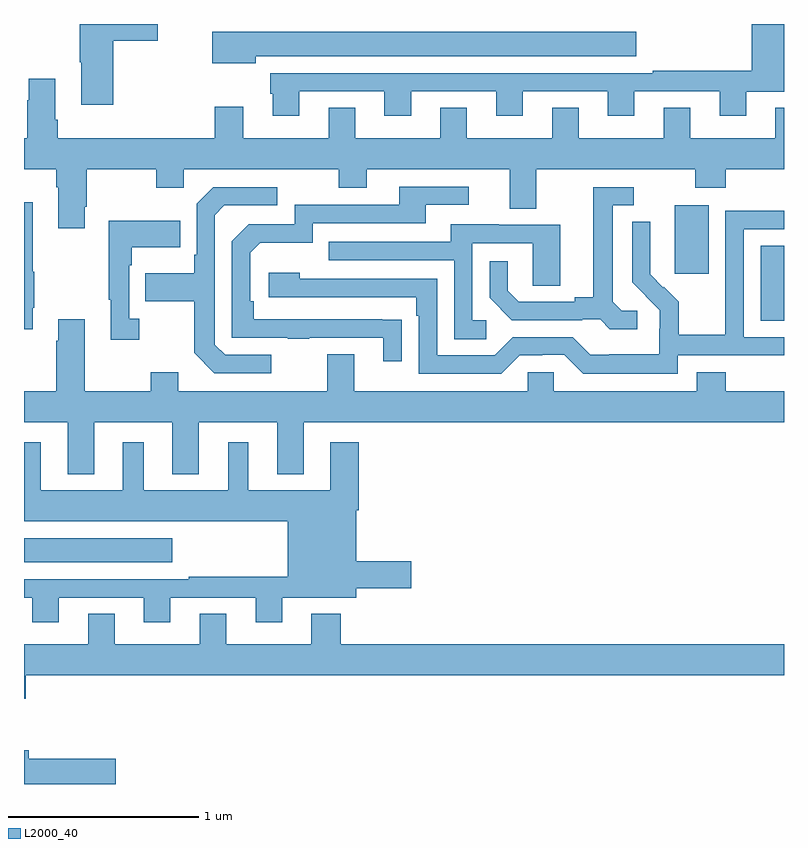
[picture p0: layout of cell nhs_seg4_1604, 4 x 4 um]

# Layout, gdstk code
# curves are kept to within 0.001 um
import gdstk
lib = gdstk.Library(unit=1e-6, precision=1e-09)
def R(c, l, rs):  # rectangles x0, y0, x1, y1
    for r in rs: c.add(gdstk.rectangle(r[:2], r[2:], *l))
def P(c, l, *ps):  # polygons
    for p in ps: c.add(gdstk.Polygon(p, *l))
L2000_40 = (2000, 40)

nhs_seg4_1604 = lib.new_cell('nhs_seg4_1604')
R(nhs_seg4_1604, L2000_40, [(193,812.066,193.78,812.194), (196.877,813.337,197,813.734), (196.424,813.585,196.603,813.946)])
P(nhs_seg4_1604, L2000_40, [(193.469,814.811),(193.705,814.811),(193.705,814.9),(193.294,814.9),(193.294,814.699),(193.301,814.699),(193.301,814.476),(193.469,814.476)],
  [(194.449,814.545),(194.897,814.545),(194.897,814.416),(195.037,814.416),(195.037,814.545),(195.485,814.545),(195.485,814.416),(195.625,814.416),(195.625,814.545),(196.073,814.545),(196.073,814.416),(196.213,814.416),(196.213,814.545),(196.661,814.545),(196.661,814.416),(196.801,814.416),(196.801,814.544),(197,814.544),(197,814.9),(196.829,814.9),(196.829,814.654),(196.309,814.654),(196.309,814.641),(194.297,814.641),(194.297,814.533),(194.309,814.533),(194.309,814.416),(194.449,814.416)],
  [(194.221,814.73),(196.222,814.73),(196.222,814.858),(193.992,814.858),(193.992,814.694),(194.221,814.694)],
  [(193.321,813.937),(193.329,813.937),(193.329,814.136),(193.696,814.136),(193.696,814.037),(193.842,814.037),(193.842,814.136),(194.656,814.136),(194.656,814.037),(194.803,814.037),(194.803,814.136),(195.557,814.136),(195.557,813.928),(195.697,813.928),(195.697,814.136),(196.534,814.136),(196.534,814.037),(196.694,814.037),(196.694,814.136),(197,814.136),(197,814.459),(196.955,814.459),(196.955,814.3),(196.507,814.3),(196.507,814.46),(196.367,814.46),(196.367,814.3),(195.919,814.3),(195.919,814.46),(195.779,814.46),(195.779,814.3),(195.331,814.3),(195.331,814.46),(195.191,814.46),(195.191,814.3),(194.743,814.3),(194.743,814.46),(194.603,814.46),(194.603,814.3),(194.155,814.3),(194.155,814.465),(194.003,814.465),(194.003,814.3),(193.178,814.3),(193.178,814.396),(193.165,814.396),(193.165,814.612),(193.025,814.612),(193.025,814.499),(193.018,814.499),(193.018,814.3),(193,814.3),(193,814.136),(193.169,814.136),(193.169,814.04),(193.181,814.04),(193.181,813.825),(193.321,813.825)],
  [(194.987,813.344),(194.21,813.345),(194.21,813.442),(194.19,813.442),(194.19,813.696),(194.243,813.749),(194.52,813.749),(194.52,813.852),(195.115,813.852),(195.115,813.948),(195.34,813.948),(195.34,814.044),(194.975,814.044),(194.975,813.948),(194.424,813.948),(194.424,813.846),(194.184,813.846),(194.094,813.756),(194.094,813.249),(194.389,813.249),(194.389,813.244),(194.501,813.244),(194.501,813.249),(194.891,813.249),(194.891,813.126),(194.987,813.126)],
  [(196.228,813.39),(196.146,813.39),(196.099,813.437),(196.099,813.945),(196.21,813.945),(196.21,814.041),(195.995,814.041),(195.995,813.461),(195.899,813.461),(195.899,813.438),(195.604,813.438),(195.547,813.495),(195.547,813.652),(195.45,813.652),(195.45,813.458),(195.566,813.342),(195.938,813.342),(195.938,813.345),(196.032,813.345),(196.084,813.293),(196.228,813.293)],
  [(194.302,813.159),(194.058,813.159),(194.004,813.213),(194.004,813.894),(194.055,813.945),(194.332,813.945),(194.332,814.041),(193.995,814.041),(193.908,813.954),(193.908,813.685),(193.896,813.685),(193.896,813.589),(193.639,813.589),(193.639,813.442),(193.896,813.442),(193.896,813.169),(194.001,813.063),(194.302,813.063)],
  [(193.045,813.406),(193.053,813.406),(193.053,813.595),(193.045,813.595),(193.045,813.961),(193,813.961),(193,813.294),(193.045,813.294)],
  [(196.44,813.156),(197,813.156),(197,813.252),(196.788,813.252),(196.788,813.819),(197,813.819),(197,813.918),(196.692,813.918),(196.692,813.488),(196.69,813.488),(196.69,813.265),(196.445,813.265),(196.445,813.439),(196.368,813.516),(196.365,813.513),(196.295,813.584),(196.296,813.86),(196.2,813.86),(196.2,813.542),(196.346,813.394),(196.346,813.297),(196.344,813.297),(196.344,813.163),(196.081,813.163),(196.081,813.159),(195.981,813.159),(195.888,813.252),(195.573,813.252),(195.477,813.156),(195.174,813.156),(195.174,813.558),(194.45,813.558),(194.45,813.592),(194.289,813.592),(194.289,813.462),(195.065,813.462),(195.065,813.365),(195.078,813.365),(195.078,813.06),(195.513,813.06),(195.609,813.156),(195.728,813.156),(195.728,813.159),(195.843,813.159),(195.943,813.059),(196.44,813.059)],
  [(193.606,813.35),(193.554,813.35),(193.554,813.629),(193.567,813.629),(193.567,813.725),(193.823,813.725),(193.823,813.865),(193.446,813.865),(193.446,813.449),(193.457,813.449),(193.457,813.237),(193.606,813.237)],
  [(195.433,813.342),(195.36,813.342),(195.36,813.747),(195.678,813.747),(195.678,813.523),(195.823,813.523),(195.823,813.843),(195.499,813.843),(195.499,813.847),(195.245,813.847),(195.245,813.753),(194.605,813.753),(194.605,813.657),(195.264,813.657),(195.264,813.241),(195.433,813.241)],
  [(193.369,812.804),(193.781,812.804),(193.781,812.531),(193.921,812.531),(193.921,812.804),(194.333,812.804),(194.333,812.531),(194.473,812.531),(194.473,812.804),(197,812.804),(197,812.968),(196.694,812.968),(196.694,813.067),(196.541,813.067),(196.541,812.968),(195.789,812.968),(195.789,813.066),(195.651,813.066),(195.651,812.968),(194.737,812.968),(194.737,813.163),(194.597,813.163),(194.597,812.968),(193.813,812.968),(193.813,813.067),(193.666,813.067),(193.666,812.968),(193.321,812.968),(193.321,813.346),(193.181,813.346),(193.181,813.233),(193.169,813.233),(193.169,812.968),(193,812.968),(193,812.804),(193.229,812.804),(193.229,812.531),(193.369,812.531)],
  [(193.183,811.881),(193.631,811.881),(193.631,811.752),(193.771,811.752),(193.771,811.881),(194.219,811.881),(194.219,811.752),(194.359,811.752),(194.359,811.88),(194.749,811.88),(194.749,811.93),(195.037,811.93),(195.037,812.072),(194.749,812.072),(194.749,812.342),(194.762,812.342),(194.762,812.698),(194.612,812.698),(194.612,812.446),(194.179,812.446),(194.179,812.698),(194.075,812.698),(194.075,812.446),(193.63,812.446),(193.63,812.698),(193.52,812.698),(193.52,812.446),(193.087,812.446),(193.087,812.698),(193,812.698),(193,812.282),(194.387,812.282),(194.387,811.99),(193.867,811.99),(193.867,811.977),(193,811.977),(193,811.881),(193.043,811.881),(193.043,811.752),(193.183,811.752)],
  [(193.01,811.472),(197,811.472),(197,811.636),(194.666,811.636),(194.666,811.795),(194.513,811.795),(194.513,811.636),(194.065,811.636),(194.065,811.796),(193.925,811.796),(193.925,811.636),(193.477,811.636),(193.477,811.796),(193.337,811.796),(193.337,811.636),(193,811.636),(193,811.348),(193.01,811.348)],
  [(193.483,811.032),(193.025,811.032),(193.025,811.078),(193,811.078),(193,810.9),(193.483,810.9)])

lib.write_gds('nhs_seg4_1604.gds')
